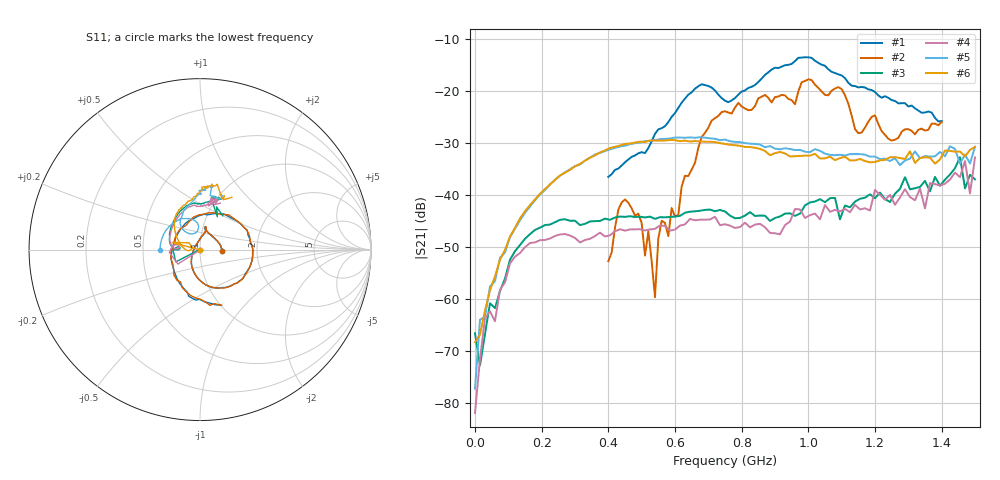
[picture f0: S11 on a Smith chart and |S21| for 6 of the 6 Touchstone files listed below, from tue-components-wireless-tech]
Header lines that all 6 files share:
# HZ S RI R 50
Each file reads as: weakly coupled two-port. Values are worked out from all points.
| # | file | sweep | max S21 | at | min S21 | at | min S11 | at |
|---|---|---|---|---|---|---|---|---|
| 1 | broadside_facing_dipoles.s2p | 400 MHz to 1.4 GHz | -13.50 dB | 990 MHz | -36.5 dB | 400 MHz | -29.4 dB | 640 MHz |
| 2 | lab3_port1_port2_dipoles.s2p | 400 MHz to 1.4 GHz | -17.72 dB | 1 GHz | -59.6 dB | 540 MHz | -29.5 dB | 640 MHz |
| 3 | lab6_amplifier_1.4V_SWAP_biasing.s2p | 50 kHz to 1.5 GHz | -32.71 dB | 1.455 GHz | -72.7 dB | 15.05 MHz | -50.8 dB | 50 kHz |
| 4 | lab6_amplifier_5V_SWAP_biasing.s2p | 50 kHz to 1.5 GHz | -32.76 dB | 1.5 GHz | -81.9 dB | 50 kHz | -51.1 dB | 50 kHz |
| 5 | lab6_amplifier_OFF_biasing.s2p | 50 kHz to 1.5 GHz | -28.88 dB | 675 MHz | -77.2 dB | 50 kHz | -20.0 dB | 555 MHz |
| 6 | lab6_amplifier_OFF_SWAP_biasing.s2p | 50 kHz to 1.5 GHz | -29.40 dB | 585 MHz | -68.3 dB | 50 kHz | -54.6 dB | 50 kHz |
